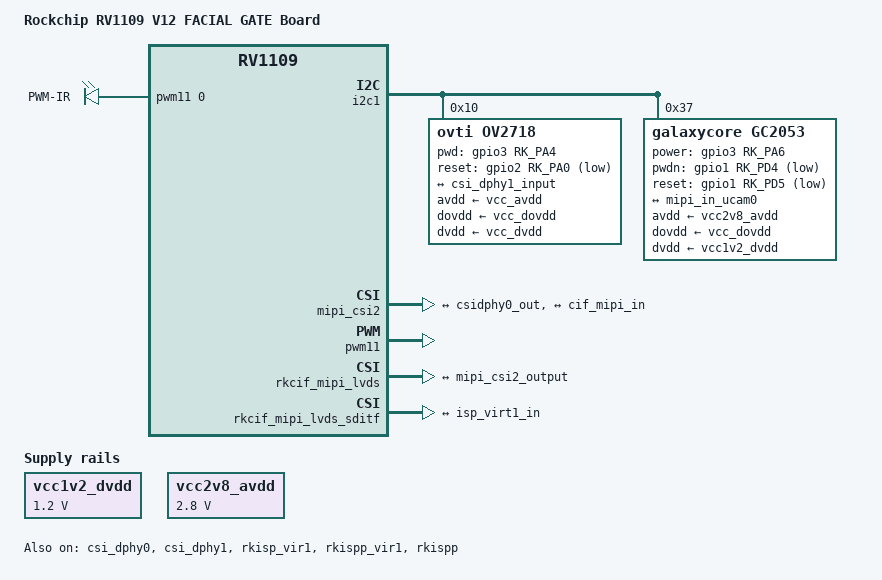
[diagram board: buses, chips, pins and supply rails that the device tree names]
// SPDX-License-Identifier: (GPL-2.0+ OR MIT)
/*
 * Copyright (c) 2020 Rockchip Electronics Co., Ltd.
 */
/dts-v1/;
#include "rv1109.dtsi"
#include "rv1126-evb-v12.dtsi"
/ {
	model = "Rockchip RV1109 V12 FACIAL GATE Board";
	compatible = "rockchip,rv1109-evb-ddr3-v12-facial-gate", "rockchip,rv1109";

	chosen {
		bootargs = "earlycon=uart8250,mmio32,0xff570000 console=ttyFIQ0 root=PARTUUID=614e0000-0000 rootfstype=ext4 rootwait snd_aloop.index=7";
	};

	pwmleds {
		compatible = "pwm-leds";

		pwmi_ir {
			label = "PWM-IR";
			pwms = <&pwm11 0 25000 0>;
			max-brightness = <255>;
		};
	};

	vcc1v2_dvdd: vcc1v2-dvdd {
		compatible = "regulator-fixed";
		regulator-name = "vcc1v2_dvdd";
		regulator-min-microvolt = <1200000>;
		regulator-max-microvolt = <1200000>;
	};

	vcc2v8_avdd: vcc2v8-avdd {
		compatible = "regulator-fixed";
		regulator-name = "vcc2v8_avdd";
		regulator-min-microvolt = <2800000>;
		regulator-max-microvolt = <2800000>;
	};
};

&csi_dphy0 {
	status = "okay";
	ports {
		port@0 {
			mipi_in_ucam0: endpoint@1 {
				remote-endpoint = <&ucam_out0>;
				data-lanes = <1 2>;
			};
		};
		port@1 {
			csidphy0_out: endpoint@0 {
				remote-endpoint = <&mipi_csi2_input>;
				data-lanes = <1 2>;
			};
		};
	};
};

&csi_dphy1 {
	status = "okay";
	ports {
		port@0 {
			csi_dphy1_input: endpoint@1 {
				remote-endpoint = <&ucam_out1>;
				data-lanes = <1 2>;
			};
		};
		port@1 {
			csi_dphy1_output: endpoint@0 {
				remote-endpoint = <&isp_in>;
				data-lanes = <1 2>;
			};
		};
	};
};

&i2c1 {
	/delete-node/ ar0230@10;
	/delete-node/ ov4689@36;
	/delete-node/ os04a10@36;
	ov2718: ov2718@10 {
		compatible = "ovti,ov2718";
		reg = <0x10>;
		clocks = <&cru CLK_MIPICSI_OUT>;
		clock-names = "xvclk";
		power-domains = <&power RV1126_PD_VI>;
		pinctrl-names = "rockchip,camera_default";
		pinctrl-0 = <&mipicsi_clk1>;
		avdd-supply = <&vcc_avdd>;
		dovdd-supply = <&vcc_dovdd>;
		dvdd-supply = <&vcc_dvdd>;
		pwd-gpios = <&gpio3 RK_PA4 GPIO_ACTIVE_HIGH>;
		reset-gpios = <&gpio2 RK_PA0 GPIO_ACTIVE_LOW>;
		rockchip,camera-module-index = <1>;
		rockchip,camera-module-facing = "front";
		rockchip,camera-module-name = "YT-RV1109-3-V1";
		rockchip,camera-module-lens-name = "M43-4IR-2MP-F2";
		ir-cut = <&cam_ircut0>;
		port {
			ucam_out1: endpoint {
				remote-endpoint = <&csi_dphy1_input>;
				data-lanes = <1 2>;
			};
		};
	};

	gc2053: gc2053@37 {
		compatible = "galaxycore,gc2053";
		reg = <0x37>;

		clocks = <&cru CLK_MIPICSI_OUT>;
		clock-names = "xvclk";

		power-domains = <&power RV1126_PD_VI>;
		pinctrl-names = "rockchip,camera_default";
		pinctrl-0 = <&mipicsi_clk0>;
		power-gpios = <&gpio3 RK_PA6 GPIO_ACTIVE_HIGH>;
		pwdn-gpios = <&gpio1 RK_PD4 GPIO_ACTIVE_LOW>;
		reset-gpios = <&gpio1 RK_PD5 GPIO_ACTIVE_LOW>;

		avdd-supply = <&vcc2v8_avdd>;
		dovdd-supply = <&vcc_dovdd>;
		dvdd-supply = <&vcc1v2_dvdd>;

		rockchip,camera-module-index = <0>;
		rockchip,camera-module-facing = "front";
		rockchip,camera-module-name = "YT-RV1109-2-V1";
		rockchip,camera-module-lens-name = "40IR-2MP-F20";
		port {
			ucam_out0: endpoint {
				remote-endpoint = <&mipi_in_ucam0>;
				data-lanes = <1 2>;
			};
		};
	};
};

/* isp cma buffer don't fiddle with it, dual camera(1920 * 1080) need 92M buffer */
&isp_reserved {
	size = <0x5c00000>;
};

&mipi_csi2 {
	status = "okay";
	ports {
		port@0 {
			mipi_csi2_input: endpoint@1 {
				remote-endpoint = <&csidphy0_out>;
				data-lanes = <1 2>;
			};
		};

		port@1 {
			mipi_csi2_output: endpoint@0 {
				remote-endpoint = <&cif_mipi_in>;
				data-lanes = <1 2>;
			};
		};
	};
};

&pwm11 {
	status = "okay";
	pinctrl-names = "active";
	pinctrl-0 = <&pwm11m1_pins_pull_down>;
};

&rk809 {
	regulators {
		vcc_dvdd: LDO_REG6 {
			regulator-min-microvolt = <1300000>;
			regulator-max-microvolt = <1300000>;
		};

		vcc_avdd: LDO_REG7 {
			regulator-min-microvolt = <3300000>;
			regulator-max-microvolt = <3300000>;
		};
	};
};

&rkcif_mipi_lvds {
	status = "okay";
	port {
		cif_mipi_in: endpoint {
			remote-endpoint = <&mipi_csi2_output>;
			data-lanes = <1 2>;
		};
	};
};

&rkcif_mipi_lvds_sditf {
	status = "okay";

	port {
		cif_sditf: endpoint {
			remote-endpoint = <&isp_virt1_in>;
			data-lanes = <1 2 3 4>;
		};
	};
};

&rkisp_vir0 {
	ports {
		port@0 {
			isp_in: endpoint@0 {
				remote-endpoint = <&csi_dphy1_output>;
			};
		};
	};
};

&rkisp_vir1 {
	status = "okay";
	ports {
		port@0 {
			reg = <0>;
			#address-cells = <1>;
			#size-cells = <0>;

			isp_virt1_in: endpoint@0 {
				reg = <0>;
				remote-endpoint = <&cif_sditf>;
			};
		};
	};
};

&rkispp_vir1 {
	status = "okay";
};

&rkispp {
	status = "okay";
	/* the max input w h and fps of mulit sensor */
	max-input = <1920 1080 30>;
};
